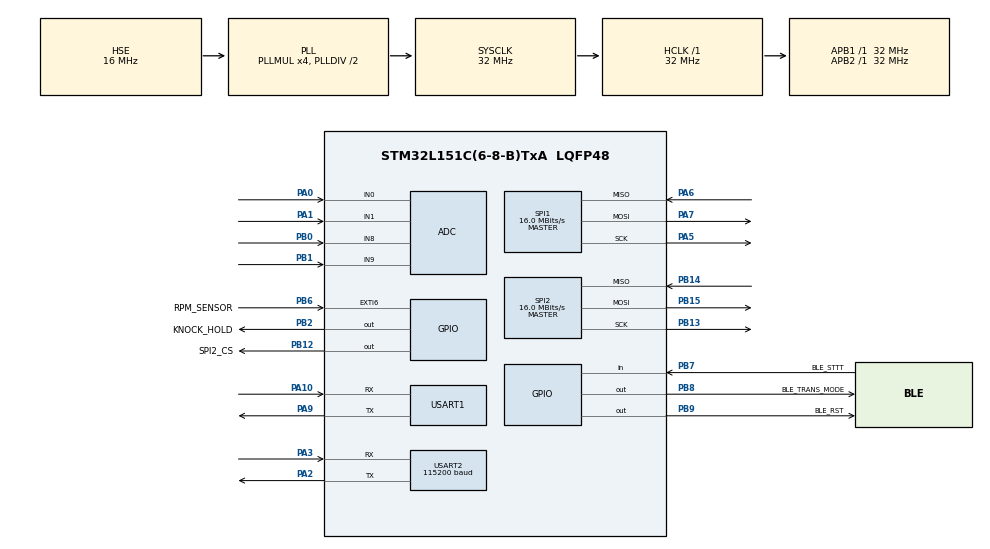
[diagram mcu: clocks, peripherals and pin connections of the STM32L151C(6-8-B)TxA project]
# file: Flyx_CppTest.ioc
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Mcu.Family=STM32L1
PA6.Mode=Full_Duplex_Master
PH0-OSC_IN.Signal=RCC_OSC_IN
Dma.ADC.0.Mode=DMA_NORMAL
SPI1.VirtualType=VM_MASTER
SPI2.VirtualType=VM_MASTER
ADC.Rank-0\#ChannelRegularConversion=1
PB6.GPIO_ModeDefaultEXTI=GPIO_MODE_IT_RISING
Dma.ADC.0.Priority=DMA_PRIORITY_LOW
ADC.ScanConvMode=ADC_SCAN_ENABLE
PB6.GPIO_Label=RPM_SENSOR
PB15.Signal=SPI2_MOSI
PB13.Signal=SPI2_SCK
RCC.SYSCLKSource=RCC_SYSCLKSOURCE_PLLCLK
ProjectManager.StackSize=0x400
VP_FREERTOS_VS_CMSIS_V2.Mode=CMSIS_V2
ADC.NbrOfConversion=4
ADC.DiscontinuousConvMode=DISABLE
Dma.ADC.0.PeriphInc=DMA_PINC_DISABLE
SPI1.Direction=SPI_DIRECTION_2LINES
RCC.HCLKFreq_Value=32000000
RCC.APB2TimFreq_Value=32000000
TIM3.Period=100-1
PB6.Signal=GPXTI6
PB12.PinState=GPIO_PIN_SET
SPI1.CalculateBaudRate=16.0 MBits/s
ADC.Rank-6\#ChannelRegularConversion=4
RCC.AHBFreq_Value=32000000
PH0-OSC_IN.Mode=HSE-External-Oscillator
Dma.ADC.0.Direction=DMA_PERIPH_TO_MEMORY
ADC.Rank-5\#ChannelRegularConversion=3
RCC.HSE_VALUE=16000000
PB2.Signal=GPIO_Output
PB12.GPIO_ModeDefaultOutputPP=GPIO_MODE_OUTPUT_PP
RCC.PLLMUL=RCC_PLL_MUL4
PB12.GPIO_Label=SPI2_CS
PB14.Mode=Full_Duplex_Master
TIM3.Prescaler=3200-1
SPI2.CalculateBaudRate=16.0 MBits/s
PB7.Signal=GPIO_Input
TIM6.Period=100-1
Dma.ADC.0.MemInc=DMA_MINC_ENABLE
PB7.GPIO_Label=BLE_STTT
PH1-OSC_OUT.Mode=HSE-External-Oscillator
PB9.Signal=GPIO_Output
Mcu.Package=LQFP48
PA6.Signal=SPI1_MISO
PB1.Signal=ADC_IN9
SPI2.Mode=SPI_MODE_MASTER
ADC.SamplingTime-5\#ChannelRegularConversion=ADC_SAMPLETIME_4CYCLES
USART2.VirtualMode=VM_ASYNC
Dma.ADC.0.Instance=DMA1_Channel1
PA10.Signal=USART1_RX
PB9.GPIO_PuPd=GPIO_PULLUP
ADC.Channel-0\#ChannelRegularConversion=ADC_CHANNEL_0
Dma.ADC.0.MemDataAlignment=DMA_MDATAALIGN_HALFWORD
RCC.APB1TimFreq_Value=32000000
SPI2.Direction=SPI_DIRECTION_2LINES
PB13.Mode=Full_Duplex_Master
ADC.Channel-4\#ChannelRegularConversion=ADC_CHANNEL_1
NVIC.USART1_IRQn=true\:5\:0\:false\:false\:true\:true\:true\:true
Dma.Request0=ADC
ADC.ExternalTrigConv=ADC_EXTERNALTRIGCONV_T3_TRGO
ADC.Channel-6\#ChannelRegularConversion=ADC_CHANNEL_9
PA3.Signal=USART2_RX
PA5.Mode=Full_Duplex_Master
RCC.MSI_VALUE=2097000
RCC.PLLSourceVirtual=RCC_PLLSOURCE_HSE
ADC.SamplingTime-6\#ChannelRegularConversion=ADC_SAMPLETIME_4CYCLES
FREERTOS.Tasks01=defaultTask,24,256,StartDefaultTask,Default,NULL,Dynamic,NULL,NULL
PA7.Mode=Full_Duplex_Master
TIM3.Channel-Output\ Compare1\ No\ Output=TIM_CHANNEL_1
PB9.GPIO_Label=BLE_RST
PA10.Mode=Asynchronous
PB6.GPIO_PuPd=GPIO_PULLUP
TIM6.Prescaler=320-1
VP_TIM6_VS_ClockSourceINT.Mode=Enable_Timer
ADC.ClockPrescaler=ADC_CLOCK_ASYNC_DIV4
NVIC.USART2_IRQn=true\:5\:0\:false\:false\:true\:true\:true\:true
USART2.BaudRate=115200
Dma.ADC.0.PeriphDataAlignment=DMA_PDATAALIGN_HALFWORD
NVIC.TIM6_IRQn=true\:5\:0\:false\:false\:true\:true\:true\:true
PA3.Mode=Asynchronous
TIM6.AutoReloadPreload=TIM_AUTORELOAD_PRELOAD_DISABLE
PB8.GPIO_Label=BLE_TRANS_MODE
PA9.Mode=Asynchronous
ProjectManager.TargetToolchain=STM32CubeIDE
PA9.Signal=USART1_TX
PA0-WKUP1.Signal=ADC_IN0
ADC.NbrOfConversionFlag=1
RCC.LSE_VALUE=32768
PA1.Signal=ADC_IN1
PB14.Signal=SPI2_MISO
PA5.Signal=SPI1_SCK
ADC.DMAContinuousRequests=ENABLE
PB0.Mode=IN8
board=custom
VP_TIM3_VS_no_output1.Mode=Output Compare1 No Output
ADC.Rank-4\#ChannelRegularConversion=2
RCC.VCOOutputFreq_Value=64000000
PB15.Mode=Full_Duplex_Master
RCC.APB2Freq_Value=32000000
PA1.Mode=IN1
SPI1.Mode=SPI_MODE_MASTER
ADC.SamplingTime-4\#ChannelRegularConversion=ADC_SAMPLETIME_4CYCLES
PH1-OSC_OUT.Signal=RCC_OSC_OUT
PA0-WKUP1.Mode=IN0
Mcu.Name=STM32L151C(6-8-B)TxA
PA2.Signal=USART2_TX
RCC.48MHZClocksFreq_Value=32000000
RCC.SYSCLKFreq_VALUE=32000000
USART1.VirtualMode=VM_ASYNC
PB9.PinState=GPIO_PIN_SET
NVIC.EXTI9_5_IRQn=true\:5\:0\:false\:false\:true\:true\:true\:true
PB2.GPIO_Label=KNOCK_HOLD
ProjectManager.HeapSize=0x200
PB1.Mode=IN9
RCC.HSI_VALUE=16000000
NVIC.PriorityGroup=NVIC_PRIORITYGROUP_4
PA2.Mode=Asynchronous
PB8.Signal=GPIO_Output
ADC.SamplingTime-0\#ChannelRegularConversion=ADC_SAMPLETIME_4CYCLES
ADC.Channel-5\#ChannelRegularConversion=ADC_CHANNEL_8
NVIC.DMA1_Channel1_IRQn=true\:5\:0\:false\:false\:true\:true\:false\:true
TIM3.TIM_MasterOutputTrigger=TIM_TRGO_UPDATE
PB12.GPIO_PuPd=GPIO_PULLUP
RCC.APB1Freq_Value=32000000
PB0.Signal=ADC_IN8
ADC.ContinuousConvMode=DISABLE
PB12.Signal=GPIO_Output
PA7.Signal=SPI1_MOSI

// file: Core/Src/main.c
/* USER CODE BEGIN Header */
/**
  ******************************************************************************
  * @file           : main.c
  * @brief          : Main program body
  ******************************************************************************
  * @attention
  *
  * <h2><center>&copy; Copyright (c) 2021 STMicroelectronics.
  * All rights reserved.</center></h2>
  *
  * This software component is licensed by ST under Ultimate Liberty license
  * SLA0044, the "License"; You may not use this file except in compliance with
  * the License. You may obtain a copy of the License at:
  *                             www.st.com/SLA0044
  *
  ******************************************************************************
  */
/* USER CODE END Header */
#include "main.h"
#include "cmsis_os.h"

/* USER CODE BEGIN Includes */
#include "ble_com.h"
#include "sensor_base_process.h"
#include "vsm_retarget.h"
#include "app_cli.h"
#include "adc_driver.h"
#include "timer_driver.h"
#include "sensor_knock.h"
#include "ble_com.h"
/* USER CODE END Includes */

ADC_HandleTypeDef hadc;
DMA_HandleTypeDef hdma_adc;

SPI_HandleTypeDef hspi1;
SPI_HandleTypeDef hspi2;

TIM_HandleTypeDef htim3;
TIM_HandleTypeDef htim6;

UART_HandleTypeDef huart1;
UART_HandleTypeDef huart2;

/* Definitions for defaultTask */
osThreadId_t defaultTaskHandle;
const osThreadAttr_t defaultTask_attributes = {
  .name = "defaultTask",
  .stack_size = 128 * 9,
  .priority = (osPriority_t) osPriorityNormal,
};
/* USER CODE BEGIN PV */
sensor_read_t sensor_read;
/* USER CODE END PV */

void SystemClock_Config(void);
static void MX_GPIO_Init(void);
static void MX_DMA_Init(void);
static void MX_USART1_UART_Init(void);
static void MX_USART2_UART_Init(void);
static void MX_ADC_Init(void);
static void MX_SPI1_Init(void);
static void MX_SPI2_Init(void);
static void MX_TIM3_Init(void);
static void MX_TIM6_Init(void);
void StartDefaultTask(void *argument);

int main(void)
{

  /* MCU Configuration--------------------------------------------------------*/

  /* Reset of all peripherals, Initializes the Flash interface and the Systick. */
  HAL_Init();

  /* Configure the system clock */
  SystemClock_Config();

  /* Initialize all configured peripherals */
  MX_GPIO_Init();
  MX_DMA_Init();
  MX_USART1_UART_Init();
  MX_USART2_UART_Init();
  MX_ADC_Init();
  MX_SPI1_Init();
  MX_SPI2_Init();
  MX_TIM3_Init();
  MX_TIM6_Init();
  /* USER CODE BEGIN 2 */
  ble_com_init();
  retarget_shell(&huart1);
  vsm_cli_start();
  user_timer_start();
  knock_sensor_init();
  /* USER CODE END 2 */

  /* Init scheduler */
  osKernelInitialize();

  /* Create the thread(s) */
  /* creation of defaultTask */
  defaultTaskHandle = osThreadNew(StartDefaultTask, NULL, &defaultTask_attributes);

  /* Start scheduler */
  osKernelStart();

  /* We should never get here as control is now taken by the scheduler */
  /* Infinite loop */
  while (1)
  {

  }
}

void SystemClock_Config(void)
{
  RCC_OscInitTypeDef RCC_OscInitStruct = {0};
  RCC_ClkInitTypeDef RCC_ClkInitStruct = {0};

  /** Configure the main internal regulator output voltage
  */
  __HAL_PWR_VOLTAGESCALING_CONFIG(PWR_REGULATOR_VOLTAGE_SCALE1);
  /** Initializes the RCC Oscillators according to the specified parameters
  * in the RCC_OscInitTypeDef structure.
  */
  RCC_OscInitStruct.OscillatorType = RCC_OSCILLATORTYPE_HSI|RCC_OSCILLATORTYPE_HSE;
  RCC_OscInitStruct.HSEState = RCC_HSE_ON;
  RCC_OscInitStruct.HSIState = RCC_HSI_ON;
  RCC_OscInitStruct.HSICalibrationValue = RCC_HSICALIBRATION_DEFAULT;
  RCC_OscInitStruct.PLL.PLLState = RCC_PLL_ON;
  RCC_OscInitStruct.PLL.PLLSource = RCC_PLLSOURCE_HSE;
  RCC_OscInitStruct.PLL.PLLMUL = RCC_PLL_MUL4;
  RCC_OscInitStruct.PLL.PLLDIV = RCC_PLL_DIV2;
  if (HAL_RCC_OscConfig(&RCC_OscInitStruct) != HAL_OK)
  {
    Error_Handler();
  }
  /** Initializes the CPU, AHB and APB buses clocks
  */
  RCC_ClkInitStruct.ClockType = RCC_CLOCKTYPE_HCLK|RCC_CLOCKTYPE_SYSCLK
                              |RCC_CLOCKTYPE_PCLK1|RCC_CLOCKTYPE_PCLK2;
  RCC_ClkInitStruct.SYSCLKSource = RCC_SYSCLKSOURCE_PLLCLK;
  RCC_ClkInitStruct.AHBCLKDivider = RCC_SYSCLK_DIV1;
  RCC_ClkInitStruct.APB1CLKDivider = RCC_HCLK_DIV1;
  RCC_ClkInitStruct.APB2CLKDivider = RCC_HCLK_DIV1;

  if (HAL_RCC_ClockConfig(&RCC_ClkInitStruct, FLASH_LATENCY_1) != HAL_OK)
  {
    Error_Handler();
  }
}

static void MX_ADC_Init(void)
{

  ADC_ChannelConfTypeDef sConfig = {0};

  /** Configure the global features of the ADC (Clock, Resolution, Data Alignment and number of conversion)
  */
  hadc.Instance = ADC1;
  hadc.Init.ClockPrescaler = ADC_CLOCK_ASYNC_DIV4;
  hadc.Init.Resolution = ADC_RESOLUTION_12B;
  hadc.Init.DataAlign = ADC_DATAALIGN_RIGHT;
  hadc.Init.ScanConvMode = ADC_SCAN_ENABLE;
  hadc.Init.EOCSelection = ADC_EOC_SEQ_CONV;
  hadc.Init.LowPowerAutoWait = ADC_AUTOWAIT_DISABLE;
  hadc.Init.LowPowerAutoPowerOff = ADC_AUTOPOWEROFF_DISABLE;
  hadc.Init.ChannelsBank = ADC_CHANNELS_BANK_A;
  hadc.Init.ContinuousConvMode = DISABLE;
  hadc.Init.NbrOfConversion = 4;
  hadc.Init.DiscontinuousConvMode = DISABLE;
  hadc.Init.ExternalTrigConv = ADC_EXTERNALTRIGCONV_T3_TRGO;
  hadc.Init.ExternalTrigConvEdge = ADC_EXTERNALTRIGCONVEDGE_RISING;
  hadc.Init.DMAContinuousRequests = ENABLE;
  if (HAL_ADC_Init(&hadc) != HAL_OK)
  {
    Error_Handler();
  }
  /** Configure for the selected ADC regular channel its corresponding rank in the sequencer and its sample time.
  */
  sConfig.Channel = ADC_CHANNEL_0;
  sConfig.Rank = ADC_REGULAR_RANK_1;
  sConfig.SamplingTime = ADC_SAMPLETIME_4CYCLES;
  if (HAL_ADC_ConfigChannel(&hadc, &sConfig) != HAL_OK)
  {
    Error_Handler();
  }
  /** Configure for the selected ADC regular channel its corresponding rank in the sequencer and its sample time.
  */
  sConfig.Channel = ADC_CHANNEL_1;
  sConfig.Rank = ADC_REGULAR_RANK_2;
  if (HAL_ADC_ConfigChannel(&hadc, &sConfig) != HAL_OK)
  {
    Error_Handler();
  }
  /** Configure for the selected ADC regular channel its corresponding rank in the sequencer and its sample time.
  */
  sConfig.Channel = ADC_CHANNEL_8;
  sConfig.Rank = ADC_REGULAR_RANK_3;
  if (HAL_ADC_ConfigChannel(&hadc, &sConfig) != HAL_OK)
  {
    Error_Handler();
  }
  /** Configure for the selected ADC regular channel its corresponding rank in the sequencer and its sample time.
  */
  sConfig.Channel = ADC_CHANNEL_9;
  sConfig.Rank = ADC_REGULAR_RANK_4;
  if (HAL_ADC_ConfigChannel(&hadc, &sConfig) != HAL_OK)
  {
    Error_Handler();
  }

}

static void MX_SPI1_Init(void)
{

  /* SPI1 parameter configuration*/
  hspi1.Instance = SPI1;
  hspi1.Init.Mode = SPI_MODE_MASTER;
  hspi1.Init.Direction = SPI_DIRECTION_2LINES;
  hspi1.Init.DataSize = SPI_DATASIZE_8BIT;
  hspi1.Init.CLKPolarity = SPI_POLARITY_LOW;
  hspi1.Init.CLKPhase = SPI_PHASE_1EDGE;
  hspi1.Init.NSS = SPI_NSS_SOFT;
  hspi1.Init.BaudRatePrescaler = SPI_BAUDRATEPRESCALER_2;
  hspi1.Init.FirstBit = SPI_FIRSTBIT_MSB;
  hspi1.Init.TIMode = SPI_TIMODE_DISABLE;
  hspi1.Init.CRCCalculation = SPI_CRCCALCULATION_DISABLE;
  hspi1.Init.CRCPolynomial = 10;
  if (HAL_SPI_Init(&hspi1) != HAL_OK)
  {
    Error_Handler();
  }

}

static void MX_SPI2_Init(void)
{

  /* SPI2 parameter configuration*/
  hspi2.Instance = SPI2;
  hspi2.Init.Mode = SPI_MODE_MASTER;
  hspi2.Init.Direction = SPI_DIRECTION_2LINES;
  hspi2.Init.DataSize = SPI_DATASIZE_8BIT;
  hspi2.Init.CLKPolarity = SPI_POLARITY_LOW;
  hspi2.Init.CLKPhase = SPI_PHASE_1EDGE;
  hspi2.Init.NSS = SPI_NSS_SOFT;
  hspi2.Init.BaudRatePrescaler = SPI_BAUDRATEPRESCALER_2;
  hspi2.Init.FirstBit = SPI_FIRSTBIT_MSB;
  hspi2.Init.TIMode = SPI_TIMODE_DISABLE;
  hspi2.Init.CRCCalculation = SPI_CRCCALCULATION_DISABLE;
  hspi2.Init.CRCPolynomial = 10;
  if (HAL_SPI_Init(&hspi2) != HAL_OK)
  {
    Error_Handler();
  }

}

static void MX_TIM3_Init(void)
{

  TIM_MasterConfigTypeDef sMasterConfig = {0};
  TIM_OC_InitTypeDef sConfigOC = {0};

  htim3.Instance = TIM3;
  htim3.Init.Prescaler = 3200-1;
  htim3.Init.CounterMode = TIM_COUNTERMODE_UP;
  htim3.Init.Period = 100-1;
  htim3.Init.ClockDivision = TIM_CLOCKDIVISION_DIV1;
  htim3.Init.AutoReloadPreload = TIM_AUTORELOAD_PRELOAD_DISABLE;
  if (HAL_TIM_OC_Init(&htim3) != HAL_OK)
  {
    Error_Handler();
  }
  sMasterConfig.MasterOutputTrigger = TIM_TRGO_UPDATE;
  sMasterConfig.MasterSlaveMode = TIM_MASTERSLAVEMODE_DISABLE;
  if (HAL_TIMEx_MasterConfigSynchronization(&htim3, &sMasterConfig) != HAL_OK)
  {
    Error_Handler();
  }
  sConfigOC.OCMode = TIM_OCMODE_TIMING;
  sConfigOC.Pulse = 0;
  sConfigOC.OCPolarity = TIM_OCPOLARITY_HIGH;
  sConfigOC.OCFastMode = TIM_OCFAST_DISABLE;
  if (HAL_TIM_OC_ConfigChannel(&htim3, &sConfigOC, TIM_CHANNEL_1) != HAL_OK)
  {
    Error_Handler();
  }

}

static void MX_TIM6_Init(void)
{

  TIM_MasterConfigTypeDef sMasterConfig = {0};

  htim6.Instance = TIM6;
  htim6.Init.Prescaler = 320-1;
  htim6.Init.CounterMode = TIM_COUNTERMODE_UP;
  htim6.Init.Period = 100-1;
  htim6.Init.AutoReloadPreload = TIM_AUTORELOAD_PRELOAD_DISABLE;
  if (HAL_TIM_Base_Init(&htim6) != HAL_OK)
  {
    Error_Handler();
  }
  sMasterConfig.MasterOutputTrigger = TIM_TRGO_RESET;
  sMasterConfig.MasterSlaveMode = TIM_MASTERSLAVEMODE_DISABLE;
  if (HAL_TIMEx_MasterConfigSynchronization(&htim6, &sMasterConfig) != HAL_OK)
  {
    Error_Handler();
  }

}

static void MX_USART1_UART_Init(void)
{

  huart1.Instance = USART1;
  huart1.Init.BaudRate = 115200;
  huart1.Init.WordLength = UART_WORDLENGTH_8B;
  huart1.Init.StopBits = UART_STOPBITS_1;
  huart1.Init.Parity = UART_PARITY_NONE;
  huart1.Init.Mode = UART_MODE_TX_RX;
  huart1.Init.HwFlowCtl = UART_HWCONTROL_NONE;
  huart1.Init.OverSampling = UART_OVERSAMPLING_16;
  if (HAL_UART_Init(&huart1) != HAL_OK)
  {
    Error_Handler();
  }

}

static void MX_USART2_UART_Init(void)
{

  huart2.Instance = USART2;
  huart2.Init.BaudRate = 115200;
  huart2.Init.WordLength = UART_WORDLENGTH_8B;
  huart2.Init.StopBits = UART_STOPBITS_1;
  huart2.Init.Parity = UART_PARITY_NONE;
  huart2.Init.Mode = UART_MODE_TX_RX;
  huart2.Init.HwFlowCtl = UART_HWCONTROL_NONE;
  huart2.Init.OverSampling = UART_OVERSAMPLING_16;
  if (HAL_UART_Init(&huart2) != HAL_OK)
  {
    Error_Handler();
  }

}

static void MX_DMA_Init(void)
{

  /* DMA controller clock enable */
  __HAL_RCC_DMA1_CLK_ENABLE();

  /* DMA interrupt init */
  /* DMA1_Channel1_IRQn interrupt configuration */
  HAL_NVIC_SetPriority(DMA1_Channel1_IRQn, 5, 0);
  HAL_NVIC_EnableIRQ(DMA1_Channel1_IRQn);

}

static void MX_GPIO_Init(void)
{
  GPIO_InitTypeDef GPIO_InitStruct = {0};

  /* GPIO Ports Clock Enable */
  __HAL_RCC_GPIOH_CLK_ENABLE();
  __HAL_RCC_GPIOA_CLK_ENABLE();
  __HAL_RCC_GPIOB_CLK_ENABLE();

  /*Configure GPIO pin Output Level */
  HAL_GPIO_WritePin(GPIOB, KNOCK_HOLD_Pin|BLE_TRANS_MODE_Pin, GPIO_PIN_RESET);

  /*Configure GPIO pin Output Level */
  HAL_GPIO_WritePin(GPIOB, SPI2_CS_Pin|BLE_RST_Pin, GPIO_PIN_SET);

  /*Configure GPIO pins : KNOCK_HOLD_Pin BLE_TRANS_MODE_Pin */
  GPIO_InitStruct.Pin = KNOCK_HOLD_Pin|BLE_TRANS_MODE_Pin;
  GPIO_InitStruct.Mode = GPIO_MODE_OUTPUT_PP;
  GPIO_InitStruct.Pull = GPIO_NOPULL;
  GPIO_InitStruct.Speed = GPIO_SPEED_FREQ_LOW;
  HAL_GPIO_Init(GPIOB, &GPIO_InitStruct);

  /*Configure GPIO pins : SPI2_CS_Pin BLE_RST_Pin */
  GPIO_InitStruct.Pin = SPI2_CS_Pin|BLE_RST_Pin;
  GPIO_InitStruct.Mode = GPIO_MODE_OUTPUT_PP;
  GPIO_InitStruct.Pull = GPIO_PULLUP;
  GPIO_InitStruct.Speed = GPIO_SPEED_FREQ_LOW;
  HAL_GPIO_Init(GPIOB, &GPIO_InitStruct);

  /*Configure GPIO pin : RPM_SENSOR_Pin */
  GPIO_InitStruct.Pin = RPM_SENSOR_Pin;
  GPIO_InitStruct.Mode = GPIO_MODE_IT_RISING;
  GPIO_InitStruct.Pull = GPIO_PULLUP;
  HAL_GPIO_Init(RPM_SENSOR_GPIO_Port, &GPIO_InitStruct);

  /*Configure GPIO pin : BLE_STTT_Pin */
  GPIO_InitStruct.Pin = BLE_STTT_Pin;
  GPIO_InitStruct.Mode = GPIO_MODE_INPUT;
  GPIO_InitStruct.Pull = GPIO_NOPULL;
  HAL_GPIO_Init(BLE_STTT_GPIO_Port, &GPIO_InitStruct);

  /* EXTI interrupt init*/
  HAL_NVIC_SetPriority(EXTI9_5_IRQn, 5, 0);
  HAL_NVIC_EnableIRQ(EXTI9_5_IRQn);

}

void StartDefaultTask(void *argument)
{
  /* USER CODE BEGIN 5 */
	adc_start_process();
  /* Infinite loop */
  for(;;)
  {
	sensor_measure_process(); // process for read sensor
	vsm_cli_main_loop(NULL);
	ble_hanlder_loop(); // read message ble
	ble_com_send_interval(); // send interval message

	osDelay(1);
  }
  /* USER CODE END 5 */
}

void Error_Handler(void)
{
  __disable_irq();
  while (1)
  {
  }
}

/************************ (C) COPYRIGHT STMicroelectronics *****END OF FILE****/
